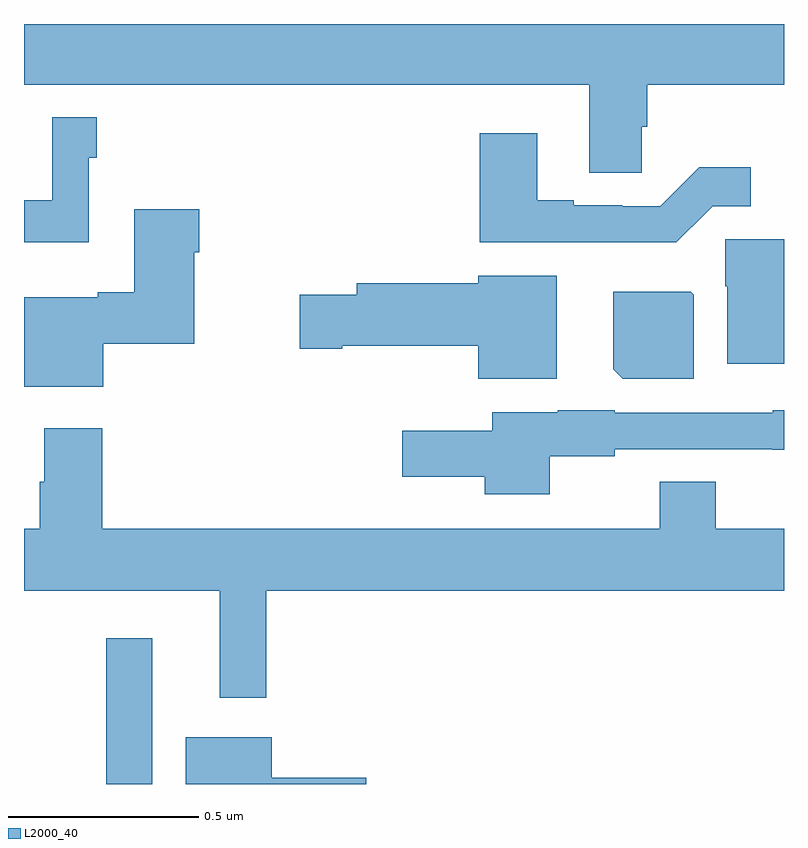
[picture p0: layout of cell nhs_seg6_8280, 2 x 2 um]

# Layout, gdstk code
import gdstk
lib = gdstk.Library(unit=1e-6, precision=1e-09)
def R(c, l, rs):  # rectangles x0, y0, x1, y1
    for r in rs: c.add(gdstk.rectangle(r[:2], r[2:], *l))
def P(c, l, *ps):  # polygons
    for p in ps: c.add(gdstk.Polygon(p, *l))
L2000_40 = (2000, 40)

nhs_seg6_8280 = lib.new_cell('nhs_seg6_8280')
R(nhs_seg6_8280, L2000_40, [(219.216,941.5,219.337,941.884)])
P(nhs_seg6_8280, L2000_40, [(220.626,943.23),(220.64,943.23),(220.64,943.34),(221,943.34),(221,943.5),(219,943.5),(219,943.34),(220.487,943.34),(220.487,943.108),(220.626,943.108)],
  [(219.171,943.148),(219.191,943.148),(219.191,943.255),(219.074,943.255),(219.074,943.036),(219,943.036),(219,942.926),(219.171,942.926)],
  [(220.797,943.005),(220.812,943.02),(220.912,943.02),(220.912,943.123),(220.777,943.123),(220.674,943.02),(220.574,943.02),(220.574,943.023),(220.447,943.023),(220.447,943.036),(220.351,943.036),(220.351,943.213),(220.199,943.213),(220.199,942.926),(220.717,942.926)],
  [(219.208,942.659),(219.448,942.659),(219.448,942.899),(219.461,942.899),(219.461,943.012),(219.29,943.012),(219.29,942.794),(219.194,942.794),(219.194,942.781),(219,942.781),(219,942.545),(219.208,942.545)],
  [(221,942.933),(220.846,942.933),(220.846,942.81),(220.85,942.81),(220.85,942.606),(221,942.606)],
  [(220.402,942.838),(220.196,942.838),(220.196,942.818),(219.875,942.818),(219.875,942.788),(219.726,942.788),(219.726,942.646),(219.838,942.646),(219.838,942.653),(220.196,942.653),(220.196,942.566),(220.402,942.566)],
  [(220.762,942.788),(220.754,942.796),(220.55,942.796),(220.55,942.592),(220.576,942.566),(220.762,942.566)],
  [(220.384,942.362),(220.554,942.362),(220.554,942.381),(220.971,942.381),(220.971,942.38),(221,942.38),(221,942.484),(220.971,942.484),(220.971,942.477),(220.554,942.477),(220.554,942.484),(220.404,942.484),(220.404,942.478),(220.232,942.478),(220.232,942.43),(219.996,942.43),(219.996,942.308),(220.213,942.308),(220.213,942.263),(220.384,942.263)],
  [(219.637,942.008),(221,942.008),(221,942.172),(220.821,942.172),(220.821,942.296),(220.673,942.296),(220.673,942.172),(219.206,942.172),(219.206,942.436),(219.053,942.436),(219.053,942.296),(219.041,942.296),(219.041,942.172),(219,942.172),(219,942.008),(219.515,942.008),(219.515,941.727),(219.637,941.727)],
  [(219.901,941.517),(219.652,941.517),(219.652,941.623),(219.425,941.623),(219.425,941.5),(219.901,941.5)])

lib.write_gds('nhs_seg6_8280.gds')
